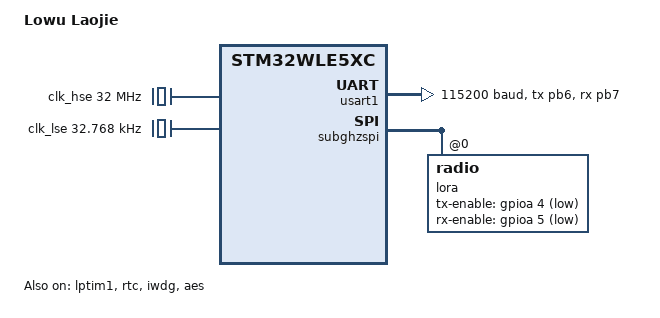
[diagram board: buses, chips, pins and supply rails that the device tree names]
/*
* Copyright (C) 2022 Jackson Ming Hu <huming2207@gmail.com>
*
* SPDX-License-Identifier: Apache-2.0
*/

/dts-v1/;

#include <st/wl/stm32wle5Xc.dtsi>
#include <st/wl/stm32wle5ccux-pinctrl.dtsi>

/ {
    model = "Lowu Laojie";
    compatible = "lowu,laojie";

    chosen {
        zephyr,console = &usart1;
        // zephyr,shell-uart = &usart1;
        zephyr,sram = &sram0;
        zephyr,flash = &flash0;
        zephyr,code-partition = &flash0;
    };

	power-states {
		stop0: state0 {
			compatible = "zephyr,power-state";
			power-state-name = "suspend-to-idle";
			substate-id = <1>;
			min-residency-us = <100>;
		};
		stop1: state1 {
			compatible = "zephyr,power-state";
			power-state-name = "suspend-to-idle";
			substate-id = <2>;
			min-residency-us = <500>;
		};
		stop2: state2 {
			compatible = "zephyr,power-state";
			power-state-name = "suspend-to-idle";
			substate-id = <3>;
			min-residency-us = <900>;
		};
	};
};

&cpu0 {
	cpu-power-states = <&stop0 &stop1 &stop2>;
};

&lptim1 {
	status = "okay";
};

&clk_msi {
	status = "okay";
	msi-range = <11>;
};

&rcc {
	clocks = <&clk_msi>;
	clock-frequency = <DT_FREQ_M(48)>;
	cpu1-prescaler = <1>;
	ahb3-prescaler = <1>;
	apb1-prescaler = <1>;
	apb2-prescaler = <1>;
};

&rtc {
	status = "okay";
};

&iwdg {
	status = "okay";
};

&aes {
	status = "okay";
};

&clk_hse {
	clock-frequency = <DT_FREQ_M(32)>;
	hse-tcxo;
};

&clk_lse {
	clock-frequency = <32768>;
};

&usart1 {
	pinctrl-0 = <&usart1_tx_pb6 &usart1_rx_pb7>;
	pinctrl-names = "default";
	current-speed = <115200>;
	status = "okay";
};

&subghzspi {
	status = "okay";
	lora: radio@0 {
		status = "okay";
		tx-enable-gpios = <&gpioa 4 GPIO_ACTIVE_LOW>;
		rx-enable-gpios = <&gpioa 5 GPIO_ACTIVE_LOW>;
		dio3-tcxo-voltage = <SX126X_DIO3_TCXO_1V7>;
		tcxo-power-startup-delay-ms = <5>;
	};
};

&flash0 {
	partitions {
		compatible = "fixed-partitions";
		#address-cells = <1>;
		#size-cells = <1>;

		/* 16KB (8x2kB pages) of storage at the end of the flash */
		storage_partition: partition@3c000 {
			label = "storage";
			reg = <0x0003c000 DT_SIZE_K(16)>;
		};
	};
};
